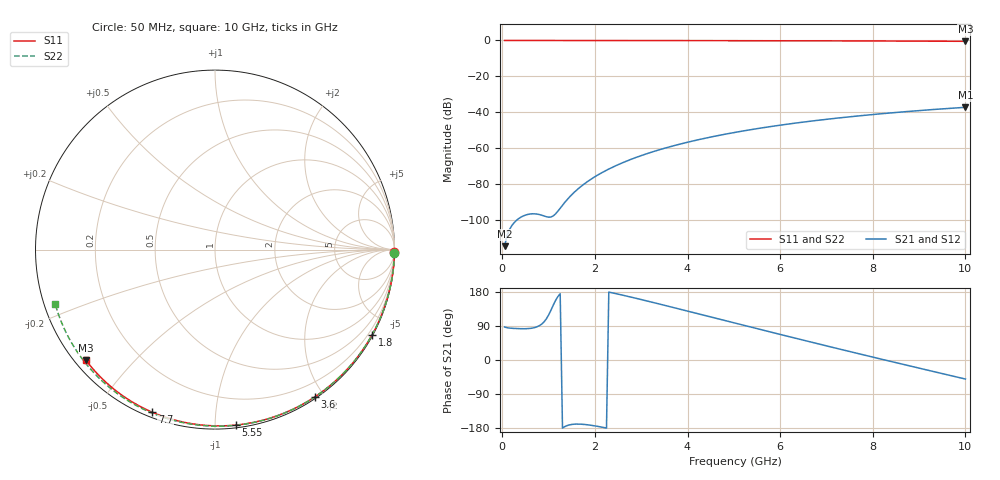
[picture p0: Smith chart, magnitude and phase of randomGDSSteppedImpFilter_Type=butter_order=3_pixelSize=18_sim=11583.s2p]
! freq	dB(S11)	phase(S11)	dB(S12)	phase(S12)
!  dB(S21)	phase(S21)	dB(S22)	phase(S22)
!S-par simulation data
#  GHz  S  DB  R 50
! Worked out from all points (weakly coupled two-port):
!   200 points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, 50 MHz to 10 GHz, reference 50 ohm
!   highest |S21| = -37.16 dB at 10 GHz (marker M1); lowest = -114.3 dB at 50 MHz (marker M2)
!   lowest |S11| = -0.5 dB at 10 GHz (marker M3), VSWR 36.83, Z = 1.54 - j18.5 ohm
!   |S11| at or under -10 dB: nowhere
!   |S22| runs from -0.5 to 0.0 dB; largest |S21 - S12| = 0
!   S11 on the Smith chart (normalised r, x): 50 MHz: open; 1.8 GHz: 0.03, -3.93; 3.6 GHz: 0.02, -1.89; 5.55 GHz: 0.02, -1.13; 7.7 GHz: 0.02, -0.69; 10 GHz: 0.03, -0.37
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0.05  -0.00 -0.8  -114.32 87.1  -114.32 87.1  -0.00 -0.9
0.45  -0.01 -7.3  -97.55 82.5  -97.55 82.5  -0.01 -8.5
0.85  -0.02 -13.6  -97.09 94.7  -97.09 94.7  -0.02 -16.0
1.3  -0.03 -20.8  -91.58 -179.6  -91.58 -179.6  -0.03 -24.3
1.75  -0.04 -27.8  -80.10 -169.8  -80.10 -169.8  -0.04 -32.5
1.8  -0.04 -28.6  -79.15 -170.4  -79.15 -170.4  -0.04 -33.4
1.95  -0.04 -30.9  -76.52 -172.9  -76.52 -172.9  -0.05 -36.2
2.1  -0.04 -33.2  -74.20 -176.0  -74.20 -176.0  -0.05 -38.9
2.3  -0.05 -36.3  -71.46 179.2  -71.46 179.2  -0.05 -42.4
2.5  -0.05 -39.4  -69.04 173.9  -69.04 173.9  -0.06 -46.0
2.9  -0.06 -45.4  -64.90 162.5  -64.90 162.5  -0.07 -53.0
3.4  -0.07 -52.9  -60.68 147.5  -60.68 147.5  -0.08 -61.6
3.6  -0.07 -55.8  -59.21 141.4  -59.21 141.4  -0.09 -65.0
4.3  -0.09 -65.9  -54.78 119.8  -54.78 119.8  -0.11 -76.6
5.05  -0.12 -76.4  -50.96 96.6  -50.96 96.6  -0.14 -88.6
5.55  -0.14 -83.3  -48.81 81.2  -48.81 81.2  -0.16 -96.3
6.1  -0.16 -90.6  -46.72 64.4  -46.72 64.4  -0.19 -104.7
6.7  -0.19 -98.4  -44.72 46.3  -44.72 46.3  -0.22 -113.6
7.7  -0.25 -111.1  -41.90 16.5  -41.90 16.5  -0.29 -128.2
8.35  -0.31 -119.2  -40.35 -2.6  -40.35 -2.6  -0.35 -137.5
9.2  -0.38 -129.6  -38.58 -27.3  -38.58 -27.3  -0.44 -149.7
10  -0.47 -139.3  -37.16 -50.2  -37.16 -50.2  -0.53 -161.3
